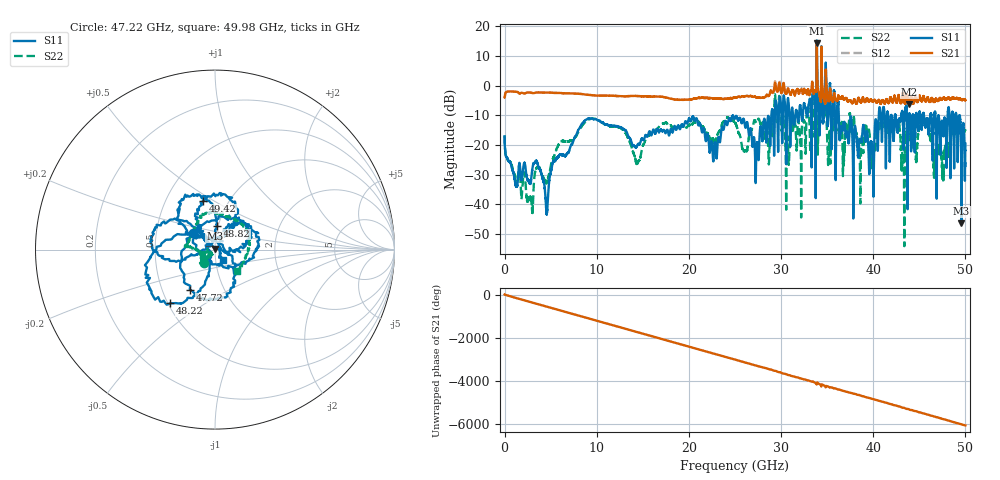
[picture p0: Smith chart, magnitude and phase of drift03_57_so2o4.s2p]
!Created with skrf (http://scikit-rf.org).
# Hz S RI R 50.0
!freq ReS11 ImS11 ReS21 ImS21 ReS12 ImS12 ReS22 ImS22
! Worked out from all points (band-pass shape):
!   10001 points, 300 kHz to 50 GHz, reference 50 ohm
!   highest |S21| = 14.25 dB at 33.88 GHz (marker M1); lowest = -6.3 dB at 43.9 GHz (marker M2)
!   |S21| within 3 dB of the highest: 33.86882 GHz to 33.88871 GHz (19.89 MHz wide, 0.0587 % of centre); 34.37659 GHz to 34.38915 GHz (12.57 MHz wide, 0.0365 % of centre)
!   lowest |S11| = -46.3 dB at 49.58 GHz (marker M3), VSWR 1.01, Z = 49.8 + j0.443 ohm
!   |S11| at or under -10 dB: start of sweep to 28.94 GHz; 36.27 GHz to 40.6 GHz (4.339 GHz wide, 11.3 % of centre); 47.07 GHz to 48.08 GHz (1.008 GHz wide, 2.12 % of centre) (the widest 3 of 61)
!   |S22| runs from -54.0 to 11.1 dB; largest |S21 - S12| = 0.81
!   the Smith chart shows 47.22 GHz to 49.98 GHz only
!   S11 on the Smith chart (normalised r, x): 47.22 GHz: 0.77, +0.15; 47.72 GHz: 0.69, -0.33; 48.22 GHz: 0.51, -0.36; 48.82 GHz: 0.99, +0.27; 49.42 GHz: 0.76, +0.45; 49.98 GHz: 1.09, -0.13
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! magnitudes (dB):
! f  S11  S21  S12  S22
! 300 kHz  -17.1  -4.0  -4.0  -16.8
! 2.82 GHz  -32.7  -2.4  -2.4  -38.1
! 4.555 GHz  -43.2  -2.3  -2.3  -32.2
! 8.335 GHz  -13.1  -2.8  -2.8  -13.9
! 14.44 GHz  -19.9  -3.5  -3.5  -26.1
! 16.67 GHz  -15.4  -3.7  -3.7  -14.3
! 25 GHz  -10.9  -4.0  -4.0  -12.5
! 27.39 GHz  -19.4  -4.1  -4.1  -12.4
! 30.7 GHz  -5.5  -1.4  -1.4  -17.1
! 33.34 GHz  -14.1  -0.4  -0.5  -7.0
! 33.88 GHz  15.1  14.3  13.9  10.7
! 39.81 GHz  -19.0  -4.9  -4.8  -23.0
! 41.67 GHz  -12.2  -5.9  -5.8  -14.8
! 43.9 GHz  -9.4  -6.3  -6.2  -16.8
! 47.22 GHz  -16.2  -4.3  -4.3  -20.3
! 47.72 GHz  -11.6  -4.2  -4.2  -21.8
! 48.22 GHz  -8.2  -4.3  -4.1  -23.0
! 48.82 GHz  -17.5  -4.3  -4.3  -16.1
! 49.42 GHz  -11.0  -4.4  -4.4  -13.7
! 49.58 GHz  -46.3  -4.7  -4.7  -13.7
! 49.98 GHz  -22.5  -4.9  -4.9  -15.2
! 50 GHz  -19.5  -4.9  -4.9  -15.1
